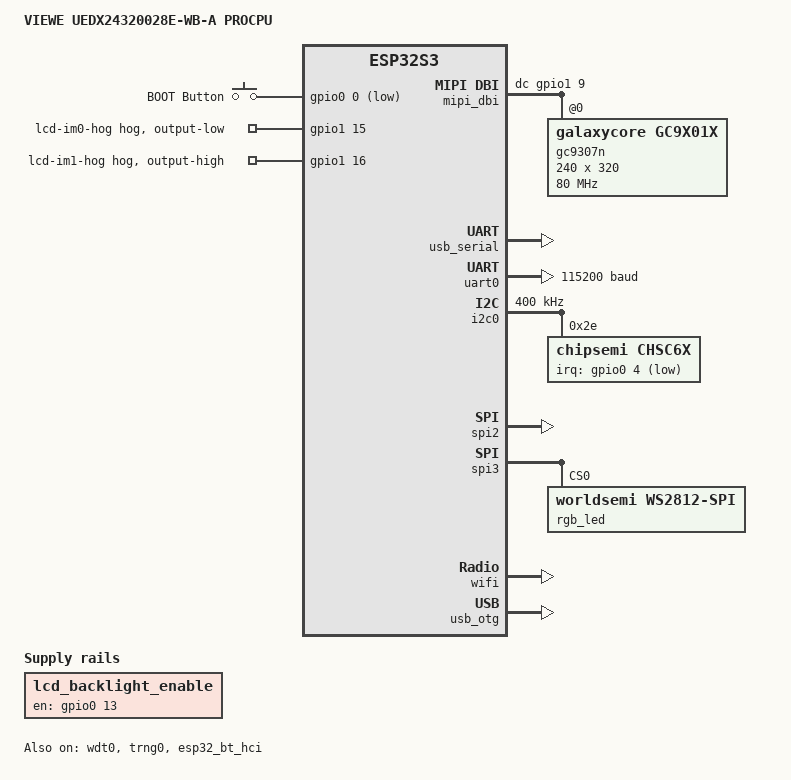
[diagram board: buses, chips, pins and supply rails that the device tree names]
/*
 * SPDX-FileCopyrightText: Copyright The Zephyr Project Contributors
 * SPDX-License-Identifier: Apache-2.0
 */
/dts-v1/;

#include <espressif/esp32s3/esp32s3_wroom_n16r8.dtsi>
#include <zephyr/dt-bindings/input/input-event-codes.h>
#include <zephyr/dt-bindings/display/panel.h>
#include <zephyr/dt-bindings/led/led.h>
#include <zephyr/dt-bindings/led/worldsemi_ws2812c.h>
#include <espressif/partitions_0x0_amp_16M.dtsi>
#include "uedx24320028e_wb_a-pinctrl.dtsi"

/ {
	model = "VIEWE UEDX24320028E-WB-A PROCPU";
	compatible = "viewe,uedx24320028e-wb-a";

	aliases {
		i2c-0 = &i2c0;
		watchdog0 = &wdt0;
		uart-0 = &uart0;
		sw0 = &button0;
		led-strip = &rgb_led;
	};

	chosen {
		zephyr,sram = &sram1;
		zephyr,console = &usb_serial;
		zephyr,shell-uart = &usb_serial;
		zephyr,flash = &flash0;
		zephyr,code-partition = &slot0_partition;
		zephyr,bt-hci = &esp32_bt_hci;
		zephyr,display = &gc9307n;
		zephyr,touch = &chsc6x;
	};

	buttons {
		compatible = "gpio-keys";

		button0: button_0 {
			gpios = <&gpio0 0 (GPIO_PULL_UP | GPIO_ACTIVE_LOW)>;
			label = "BOOT Button";
			zephyr,code = <INPUT_KEY_0>;
		};
	};

	lcd_backlight_en {
		compatible = "regulator-fixed";
		regulator-name = "lcd_backlight_enable";
		enable-gpios = <&gpio0 13 GPIO_ACTIVE_HIGH>;  /* IO13-BL-EN */
		regulator-boot-on;
	};

	mipi_dbi {
		compatible = "zephyr,mipi-dbi-spi";
		status = "okay";
		spi-dev = <&spi2>;
		dc-gpios = <&gpio1 9 GPIO_ACTIVE_HIGH>;   /* IO41 */
		write-only;
		#address-cells = <1>;
		#size-cells = <0>;

		gc9307n: gc9307n@0 {
			compatible = "galaxycore,gc9x01x";
			reg = <0>;
			status = "okay";
			mipi-max-frequency = <80000000>;
			pixel-format = <PANEL_PIXEL_FORMAT_RGB_565>;
			width = <240>;
			height = <320>;
			/*
			 * Vendor init sequence from BOARD_VIEWE_UEDX24320028E_WB_A.h
			 * Gamma settings derived from vendor commands
			 */
			gamma1 = [49 0b 09 08 06 2e];
			gamma2 = [45 92 93 2b 31 6f];
			gamma3 = [49 0b 09 08 06 2e];
			gamma4 = [45 92 93 2b 31 6f];
		};
	};
};

&usb_serial {
	status = "okay";
};

&uart0 {
	status = "okay";
	current-speed = <115200>;
	pinctrl-0 = <&uart0_default>;
	pinctrl-names = "default";
};

&gpio0 {
	status = "okay";
};

&gpio1 {
	status = "okay";

	/*
	 * IM0 and IM1 pins select the MCU interface mode for the GC9A01.
	 * For 4-wire SPI mode: IM0=LOW, IM1=HIGH.
	 */
	lcd-im0-hog {
		gpio-hog;
		gpios = <15 GPIO_ACTIVE_HIGH>;  /* IO47 - IM0 */
		output-low;
	};

	lcd-im1-hog {
		gpio-hog;
		gpios = <16 GPIO_ACTIVE_HIGH>;  /* IO48 - IM1 */
		output-high;
	};
};

&i2c0 {
	status = "okay";
	clock-frequency = <I2C_BITRATE_FAST>;
	pinctrl-0 = <&i2c0_default>;
	pinctrl-names = "default";

	chsc6x: chsc6x@2e {
		compatible = "chipsemi,chsc6x";
		reg = <0x2e>;
		irq-gpios = <&gpio0 4 GPIO_ACTIVE_LOW>;
	};
};

&spi2 {
	#address-cells = <1>;
	#size-cells = <0>;
	status = "okay";
	pinctrl-0 = <&spim2_default>;
	pinctrl-names = "default";
	cs-gpios = <&gpio1 10 GPIO_ACTIVE_LOW>; /* IO42 */
};

&spi3 {
	#address-cells = <1>;
	#size-cells = <0>;
	status = "okay";
	line-idle-low;
	pinctrl-0 = <&spim3_ws2812_led>;
	pinctrl-names = "default";

	rgb_led: ws2812@0 {
		compatible = "worldsemi,ws2812-spi";
		reg = <0>;
		spi-max-frequency = <WS2812C_SPI_FREQ>;
		chain-length = <1>;
		color-mapping = <LED_COLOR_ID_GREEN>,
				<LED_COLOR_ID_RED>,
				<LED_COLOR_ID_BLUE>;
		spi-one-frame = <WS2812C_ONE_FRAME>;
		spi-zero-frame = <WS2812C_ZERO_FRAME>;
	};
};

&timer0 {
	status = "disabled";
};

&timer1 {
	status = "disabled";
};

&timer2 {
	status = "disabled";
};

&timer3 {
	status = "disabled";
};

&wdt0 {
	status = "okay";
};

&trng0 {
	status = "okay";
};

&esp32_bt_hci {
	status = "okay";
};

&wifi {
	status = "okay";
};

zephyr_udc0: &usb_otg {
	status = "okay";
};
